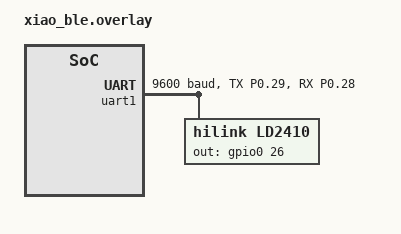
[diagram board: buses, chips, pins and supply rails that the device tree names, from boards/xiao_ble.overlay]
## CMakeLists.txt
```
# Copyright (c) 2024 Matthew Macdonald-Wallace
# SPDX-License-Identifier: Apache-2.0

cmake_minimum_required(VERSION 3.20.0)
find_package(Zephyr REQUIRED HINTS $ENV{ZEPHYR_BASE})
project(ld2410_basic_sample)

target_sources(app PRIVATE src/main.c)
```

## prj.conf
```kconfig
CONFIG_SERIAL=y
CONFIG_UART_INTERRUPT_DRIVEN=y
CONFIG_RING_BUFFER=y
CONFIG_GPIO=y
CONFIG_LOG=y
CONFIG_LOG_DEFAULT_LEVEL=3
CONFIG_LD2410=y
```

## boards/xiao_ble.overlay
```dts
/*
 * Copyright (c) 2024 Matthew Macdonald-Wallace
 * SPDX-License-Identifier: Apache-2.0
 *
 * Devicetree overlay for XIAO BLE (nRF52840) with LD2410 mmWave sensor.
 *
 * IMPORTANT: The LD2410 factory default baud rate is 256000, which is not
 * supported by the nRF52 UARTE peripheral. You must first change the sensor
 * baud rate to 9600 using the HiLink Android/iOS app before connecting.
 *
 * Wiring:
 *   D2 (P0.28) = UART1 RX  <-- LD2410 TX
 *   D3 (P0.29) = UART1 TX  --> LD2410 RX
 *   D10 (P0.26) = GPIO IN  <-- LD2410 OUT (optional)
 */

&pinctrl {
	uart1_default: uart1_default {
		group1 {
			psels = <NRF_PSEL(UART_TX, 0, 29)>;
		};
		group2 {
			psels = <NRF_PSEL(UART_RX, 0, 28)>;
			bias-pull-up;
		};
	};

	uart1_sleep: uart1_sleep {
		group1 {
			psels = <NRF_PSEL(UART_TX, 0, 29)>,
				<NRF_PSEL(UART_RX, 0, 28)>;
			low-power-enable;
		};
	};
};

&uart1 {
	compatible = "nordic,nrf-uarte";
	status = "okay";
	current-speed = <9600>;
	pinctrl-0 = <&uart1_default>;
	pinctrl-1 = <&uart1_sleep>;
	pinctrl-names = "default", "sleep";

	ld2410: ld2410 {
		compatible = "hilink,ld2410";
		out-gpios = <&gpio0 26 GPIO_ACTIVE_HIGH>;
	};
};
```

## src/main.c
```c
/*
 * Copyright (c) 2024 Matthew Macdonald-Wallace
 *
 * SPDX-License-Identifier: Apache-2.0
 */

#include <zephyr/kernel.h>
#include <zephyr/device.h>
#include <zephyr/logging/log.h>

#include <ld2410/ld2410.h>

LOG_MODULE_REGISTER(app, LOG_LEVEL_INF);

/* ---------------------------------------------------------------------------
 * Data callback — invoked from the driver RX thread
 * ---------------------------------------------------------------------------*/

static void on_radar_data(const struct ld2410_frame *frame, void *user_data)
{
	ARG_UNUSED(user_data);

	const struct ld2410_target_data *t = &frame->target;

	LOG_INF("[%s] mov=%ucm(E%u) sta=%ucm(E%u) det=%ucm",
		ld2410_target_state_str(t->state),
		t->moving_distance_cm, t->moving_energy,
		t->static_distance_cm, t->static_energy,
		t->detection_distance_cm);

	if (frame->type == LD2410_DATA_ENGINEERING) {
		const struct ld2410_engineering_data *e = &frame->engineering;

		for (int i = 0; i < LD2410_MAX_GATES; i++) {
			LOG_INF("  Gate %d: mov=%3u sta=%3u",
				i, e->moving_energy[i], e->static_energy[i]);
		}

		LOG_INF("  Light: %u  OUT: %s", e->light_value,
			e->out_pin_state ? "presence" : "clear");
	}
}

/* ---------------------------------------------------------------------------
 * Configuration callback
 * ---------------------------------------------------------------------------*/

static int my_config(const struct device *dev, void *user_data)
{
	ARG_UNUSED(user_data);
	int ret;

	/* Read firmware version */
	struct ld2410_firmware_version ver;

	ret = ld2410_read_firmware_version(dev, &ver);
	if (ret == 0) {
		LOG_INF("Firmware: type=0x%04x V%u.%08X",
			ver.type, ver.major, ver.minor);
	}

	/* Set detection range: max gate 6 (~4.5m), timeout 10s */
	ret = ld2410_set_max_gate_and_duration(dev, 6, 6, 10);
	if (ret) {
		LOG_ERR("Set max gate failed: %d", ret);
		return ret;
	}

	/* Set all gates: moving=40, stationary=30 */
	ret = ld2410_set_gate_sensitivity(dev, LD2410_ALL_GATES, 40, 30);
	if (ret) {
		LOG_ERR("Set sensitivity failed: %d", ret);
		return ret;
	}

	/* Enable engineering mode for per-gate energy data */
	ret = ld2410_engineering_mode_enable(dev);
	if (ret) {
		LOG_ERR("Engineering mode failed: %d", ret);
		return ret;
	}

	LOG_INF("Configuration complete");
	return 0;
}

/* ---------------------------------------------------------------------------
 * Main
 * ---------------------------------------------------------------------------*/

int main(void)
{
	const struct device *sensor = DEVICE_DT_GET_ANY(hilink_ld2410);

	if (!sensor || !device_is_ready(sensor)) {
		LOG_ERR("LD2410 sensor not ready");
		return -ENODEV;
	}

	LOG_INF("LD2410 mmWave sensor ready");

	/* Register data callback */
	ld2410_register_callback(sensor, on_radar_data, NULL);

	/* Wait for sensor to stabilize after power-on */
	k_sleep(K_SECONDS(3));

	/* Run configuration sequence */
	int ret = ld2410_configure(sensor, my_config, NULL);

	if (ret) {
		LOG_ERR("Configuration failed: %d", ret);
		return ret;
	}

	LOG_INF("Sensor ready — receiving data via callback");

	/* Data arrives via callback — nothing else to do */
	while (true) {
		k_sleep(K_SECONDS(60));
	}

	return 0;
}
```
